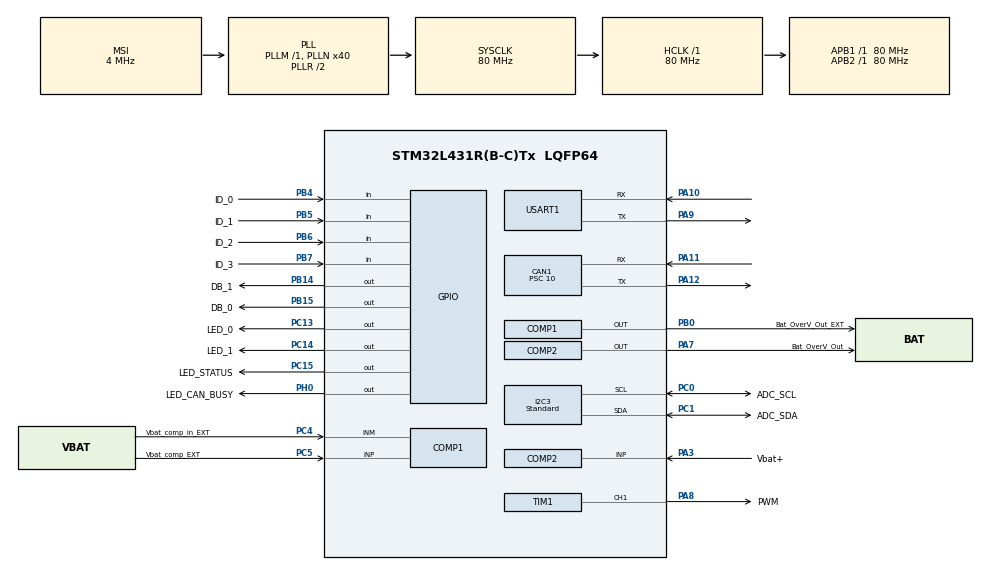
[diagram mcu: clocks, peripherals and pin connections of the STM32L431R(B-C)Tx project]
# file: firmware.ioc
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ADC1.ClockPrescaler=ADC_CLOCK_ASYNC_DIV1
ADC1.ContinuousConvMode=DISABLE
ADC1.DMAContinuousRequests=DISABLE
ADC1.EnableRegularConversion=DISABLE
ADC1.OversamplingMode=ENABLE
ADC1.master=1
CAN1.BS1=CAN_BS1_13TQ
CAN1.BS2=CAN_BS2_2TQ
CAN1.CalculateBaudRate=500000
CAN1.CalculateTimeBit=2000
CAN1.CalculateTimeQuantum=125.0
CAN1.Prescaler=10
COMP1.TriggerMode=COMP_TRIGGERMODE_IT_RISING_FALLING
COMP2.InvertingInput=COMP_INPUT_MINUS_DAC1_CH1
COMP2.TriggerMode=COMP_TRIGGERMODE_IT_RISING_FALLING
Dma.ADC1.0.Direction=DMA_PERIPH_TO_MEMORY
Dma.ADC1.0.Instance=DMA1_Channel1
Dma.ADC1.0.MemDataAlignment=DMA_MDATAALIGN_HALFWORD
Dma.ADC1.0.MemInc=DMA_MINC_ENABLE
Dma.ADC1.0.Mode=DMA_CIRCULAR
Dma.ADC1.0.PeriphDataAlignment=DMA_PDATAALIGN_HALFWORD
Dma.ADC1.0.PeriphInc=DMA_PINC_DISABLE
Dma.ADC1.0.Priority=DMA_PRIORITY_MEDIUM
Dma.I2C3_RX.2.Direction=DMA_PERIPH_TO_MEMORY
Dma.I2C3_RX.2.Instance=DMA1_Channel3
Dma.I2C3_RX.2.MemDataAlignment=DMA_MDATAALIGN_BYTE
Dma.I2C3_RX.2.MemInc=DMA_MINC_ENABLE
Dma.I2C3_RX.2.Mode=DMA_NORMAL
Dma.I2C3_RX.2.PeriphDataAlignment=DMA_PDATAALIGN_BYTE
Dma.I2C3_RX.2.PeriphInc=DMA_PINC_DISABLE
Dma.I2C3_RX.2.Priority=DMA_PRIORITY_HIGH
Dma.Request0=ADC1
Dma.Request1=USART1_RX
Dma.Request2=I2C3_RX
Dma.USART1_RX.1.Direction=DMA_PERIPH_TO_MEMORY
Dma.USART1_RX.1.Instance=DMA1_Channel5
Dma.USART1_RX.1.MemDataAlignment=DMA_MDATAALIGN_BYTE
Dma.USART1_RX.1.MemInc=DMA_MINC_ENABLE
Dma.USART1_RX.1.Mode=DMA_CIRCULAR
Dma.USART1_RX.1.PeriphDataAlignment=DMA_PDATAALIGN_BYTE
Dma.USART1_RX.1.PeriphInc=DMA_PINC_DISABLE
Dma.USART1_RX.1.Priority=DMA_PRIORITY_LOW
I2C3.I2C_Speed_Mode=I2C_Standard
I2C3.Timing=0x10909CEC
IWDG.Prescaler=IWDG_PRESCALER_256
IWDG.Reload=626
IWDG.Window=626
Mcu.Family=STM32L4
Mcu.Name=STM32L431R(B-C)Tx
Mcu.Package=LQFP64
NVIC.ADC1_IRQn=true\:0\:0\:false\:false\:true\:true\:true\:true
NVIC.COMP_IRQn=true\:0\:0\:false\:false\:true\:false\:true\:true
NVIC.DMA1_Channel1_IRQn=true\:0\:0\:false\:false\:true\:false\:true\:true
NVIC.DMA1_Channel3_IRQn=true\:0\:0\:false\:false\:true\:false\:true\:true
NVIC.DMA1_Channel5_IRQn=true\:0\:0\:false\:false\:true\:false\:true\:true
NVIC.PriorityGroup=NVIC_PRIORITYGROUP_4
NVIC.TIM2_IRQn=true\:0\:0\:false\:false\:true\:true\:true\:true
NVIC.USART1_IRQn=true\:0\:0\:false\:false\:true\:true\:true\:true
PA0.GPIO_Label=IPanel+
PA0.Signal=ADCx_IN5
PA10.Mode=Asynchronous
PA10.Signal=USART1_RX
PA11.Mode=CAN_Activate
PA11.Signal=CAN1_RX
PA12.Mode=CAN_Activate
PA12.Signal=CAN1_TX
PA13\ (JTMS-SWDIO).Mode=Trace_Asynchronous_SW
PA13\ (JTMS-SWDIO).Signal=SYS_JTMS-SWDIO
PA14\ (JTCK-SWCLK).Mode=Trace_Asynchronous_SW
PA14\ (JTCK-SWCLK).Signal=SYS_JTCK-SWCLK
PA2.GPIO_Label=Vbat_comp
PA2.Signal=SharedAnalog_PA2
PA3.GPIO_Label=Vbat+
PA3.Signal=SharedAnalog_PA3
PA4.GPIO_Label=TempDiode
PA4.Signal=ADCx_IN9
PA5.GPIO_Label=TempMos
PA5.Signal=ADCx_IN10
PA6.GPIO_Label=Rad+
PA6.Signal=ADCx_IN11
PA7.GPIO_Label=Bat_OverV_Out
PA7.Mode=ExternalOutput
PA7.Signal=COMP2_OUT
PA8.GPIO_Label=PWM
PA8.Signal=S_TIM1_CH1
PA9.Mode=Asynchronous
PA9.Signal=USART1_TX
PB0.GPIO_Label=Bat_OverV_Out_EXT
PB0.Mode=ExternalOutput
PB0.Signal=COMP1_OUT
PB12.GPIO_Label=TImer_break
PB12.Signal=TIM1_BKIN_COMP2
PB13.GPIO_Label=PWM_N
PB13.Signal=TIM1_CH1N
PB14.GPIO_Label=DB_1
PB14.Signal=GPIO_Output
PB15.GPIO_Label=DB_0
PB15.Signal=GPIO_Output
PB3\ (JTDO-TRACESWO).Mode=Trace_Asynchronous_SW
PB3\ (JTDO-TRACESWO).Signal=SYS_JTDO-SWO
PB4\ (NJTRST).GPIO_Label=ID_0
PB4\ (NJTRST).GPIO_PuPd=GPIO_PULLUP
PB4\ (NJTRST).Signal=GPIO_Input
PB5.GPIO_Label=ID_1
PB5.GPIO_PuPd=GPIO_PULLUP
PB5.Signal=GPIO_Input
PB6.GPIO_Label=ID_2
PB6.GPIO_PuPd=GPIO_PULLUP
PB6.Signal=GPIO_Input
PB7.GPIO_Label=ID_3
PB7.GPIO_PuPd=GPIO_PULLUP
PB7.Signal=GPIO_Input
PC0.GPIO_Label=ADC_SCL
PC0.GPIO_Pu=GPIO_PULLUP
PC0.Mode=I2C
PC0.Signal=I2C3_SCL
PC1.GPIO_Label=ADC_SDA
PC1.GPIO_Pu=GPIO_PULLUP
PC1.Mode=I2C
PC1.Signal=I2C3_SDA
PC13.GPIO_Label=LED_0
PC13.Signal=GPIO_Output
PC14-OSC32_IN\ (PC14).GPIO_Label=LED_1
PC14-OSC32_IN\ (PC14).Signal=GPIO_Output
PC15-OSC32_OUT\ (PC15).GPIO_Label=LED_STATUS
PC15-OSC32_OUT\ (PC15).Signal=GPIO_Output
PC2.GPIO_Label=Vpanel+
PC2.Signal=ADCx_IN3
PC4.GPIO_Label=Vbat_comp_in_EXT
PC4.Mode=INM
PC4.Signal=COMP1_INM
PC5.GPIO_Label=Vbat_comp_EXT
PC5.Signal=SharedAnalog_PC5
PH0-OSC_IN\ (PH0).GPIO_Label=LED_CAN_BUSY
PH0-OSC_IN\ (PH0).Signal=GPIO_Output
ProjectManager.HeapSize=0x200
ProjectManager.StackSize=0x400
ProjectManager.TargetToolchain=Makefile
RCC.ADCCLockSelection=RCC_ADCCLKSOURCE_SYSCLK
RCC.ADCFreq_Value=80000000
RCC.AHBFreq_Value=80000000
RCC.APB1Freq_Value=80000000
RCC.APB1TimFreq_Value=80000000
RCC.APB2Freq_Value=80000000
RCC.APB2TimFreq_Value=80000000
RCC.CortexFreq_Value=80000000
RCC.HCLKFreq_Value=80000000
RCC.HSE_VALUE=8000000
RCC.HSI48_VALUE=48000000
RCC.HSI_VALUE=16000000
RCC.LSE_VALUE=32768
RCC.MSI_VALUE=4000000
RCC.PLLN=40
RCC.SYSCLKFreq_VALUE=80000000
RCC.SYSCLKSource=RCC_SYSCLKSOURCE_PLLCLK
RCC.VCOOutputFreq_Value=160000000
SH.ADCx_IN10.0=ADC1_IN10
SH.ADCx_IN11.0=ADC1_IN11
SH.ADCx_IN3.0=ADC1_IN3
SH.ADCx_IN5.0=ADC1_IN5
SH.ADCx_IN9.0=ADC1_IN9
SH.S_TIM1_CH1.0=TIM1_CH1,PWM Generation1 CH1
SH.SharedAnalog_PA2.0=COMP2_INM
SH.SharedAnalog_PA2.1=ADC1_IN7
SH.SharedAnalog_PA3.0=ADC1_IN8
SH.SharedAnalog_PA3.1=COMP2_INP,INP
SH.SharedAnalog_PC5.0=COMP1_INP,INP
SH.SharedAnalog_PC5.1=ADC1_IN14,IN14-Single-Ended
TIM1.Channel-PWM\ Generation1\ CH1=TIM_CHANNEL_1
TIM1.OCFastMode_PWM-PWM\ Generation1\ CH1\ CH1N=TIM_OCFAST_ENABLE
TIM1.SourceBRK2COMP1=TIM_BREAKINPUTSOURCE_DISABLE
TIM2.AutoReloadPreload=TIM_AUTORELOAD_PRELOAD_ENABLE
TIM2.Period=1428
TIM2.TIM_MasterOutputTrigger=TIM_TRGO_UPDATE
USART1.VirtualMode-Asynchronous=VM_ASYNC
VP_COMP2_VS_DACOUT1.Mode=INM_DACOUT1
VP_DAC1_VS_DACI1.Mode=DAC_OUT1_Int
VP_IWDG_VS_IWDG.Mode=IWDG_Activate
VP_TIM1_VS_ClockSourceINT.Mode=Internal
VP_TIM2_VS_ClockSourceINT.Mode=Internal
board=custom

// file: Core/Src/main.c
/* USER CODE BEGIN Header */
/**
 ******************************************************************************
 * @file           : main.c
 * @brief          : Main program body
 ******************************************************************************
 * @attention
 *
 * Copyright (c) 2023 STMicroelectronics.
 * All rights reserved.
 *
 * This software is licensed under terms that can be found in the LICENSE file
 * in the root directory of this software component.
 * If no LICENSE file comes with this software, it is provided AS-IS.
 *
 ******************************************************************************
 */
/* USER CODE END Header */
#include "main.h"

/* USER CODE BEGIN Includes */
#include <string.h>
#include "machine.h"
#include "control.h"
#include "comparators.h"
#include "pwm.h"
#include "adc.h"
#include "canbus.h"
#include "dac.h"
#include "uart.h"
#include "ads111x.h"

/* USER CODE END Includes */

ADC_HandleTypeDef hadc1;
DMA_HandleTypeDef hdma_adc1;

CAN_HandleTypeDef hcan1;

COMP_HandleTypeDef hcomp1;
COMP_HandleTypeDef hcomp2;

DAC_HandleTypeDef hdac1;

I2C_HandleTypeDef hi2c3;
DMA_HandleTypeDef hdma_i2c3_rx;

IWDG_HandleTypeDef hiwdg;

TIM_HandleTypeDef htim1;
TIM_HandleTypeDef htim2;

UART_HandleTypeDef huart1;
DMA_HandleTypeDef hdma_usart1_rx;

void SystemClock_Config(void);
static void MX_GPIO_Init(void);
static void MX_DMA_Init(void);
static void MX_ADC1_Init(void);
static void MX_CAN1_Init(void);
static void MX_TIM1_Init(void);
static void MX_USART1_UART_Init(void);
static void MX_COMP1_Init(void);
static void MX_COMP2_Init(void);
static void MX_DAC1_Init(void);
static void MX_TIM2_Init(void);
static void MX_I2C3_Init(void);
static void MX_IWDG_Init(void);

int main(void)
{

	/* MCU Configuration--------------------------------------------------------*/

	/* Reset of all peripherals, Initializes the Flash interface and the Systick. */
	HAL_Init();

	/* Configure the system clock */
	SystemClock_Config();

	/* Initialize all configured peripherals */
	MX_GPIO_Init();
	MX_DMA_Init();
	MX_ADC1_Init();
	MX_CAN1_Init();
	MX_TIM1_Init();
	MX_USART1_UART_Init();
	MX_COMP1_Init();
	MX_COMP2_Init();
	MX_DAC1_Init();
	MX_TIM2_Init();
	MX_I2C3_Init();
	MX_IWDG_Init();
	/* USER CODE BEGIN 2 */

	uart_init(&huart1);
	adc_init(&hi2c3);
	pwm_init(&htim1);
	machine_init();
	canbus_init(&hcan1);

	/* USER CODE END 2 */

	/* Infinite loop */
	while (1)
	{

		/* USER CODE BEGIN 3 */

		static uint32_t uart_delay = 0U;
		static uint32_t adc_delay = 0U;
		static uint32_t control_delay = 0U;
		static uint32_t canbus_delay = 0U;

		/* Machine */
		machine_set_run();
		machine_set_enable(DISABLE);
		machine_run();

		/* Uart */
		if (uart_delay < HAL_GetTick())
		{
			uart_delay = HAL_GetTick() + 500U;
			uart_run();
		}

		/* Adc */
		if (adc_delay < HAL_GetTick())
		{
			adc_delay = HAL_GetTick() + (uint32_t)(1000 / ADC_DEFAULT_FREQUENCY);
			adc_measure();
		}

		/* Control */
		if (control_delay < HAL_GetTick() && adc_all_channels_measured())
		{
			control_delay = HAL_GetTick() + control_get_period();
			control_run();
		}

		/* CanBus */
		if (canbus_delay < HAL_GetTick())
		{
			canbus_delay = HAL_GetTick() + 50U;
			canbus_run();
		}

	}
	/* USER CODE END 3 */
}

void SystemClock_Config(void)
{
	RCC_OscInitTypeDef RCC_OscInitStruct = {0};
	RCC_ClkInitTypeDef RCC_ClkInitStruct = {0};

	/** Configure the main internal regulator output voltage
	*/
	if (HAL_PWREx_ControlVoltageScaling(PWR_REGULATOR_VOLTAGE_SCALE1) != HAL_OK)
	{
		Error_Handler();
	}

	/** Initializes the RCC Oscillators according to the specified parameters
	* in the RCC_OscInitTypeDef structure.
	*/
	RCC_OscInitStruct.OscillatorType = RCC_OSCILLATORTYPE_LSI|RCC_OSCILLATORTYPE_MSI;
	RCC_OscInitStruct.LSIState = RCC_LSI_ON;
	RCC_OscInitStruct.MSIState = RCC_MSI_ON;
	RCC_OscInitStruct.MSICalibrationValue = 0;
	RCC_OscInitStruct.MSIClockRange = RCC_MSIRANGE_6;
	RCC_OscInitStruct.PLL.PLLState = RCC_PLL_ON;
	RCC_OscInitStruct.PLL.PLLSource = RCC_PLLSOURCE_MSI;
	RCC_OscInitStruct.PLL.PLLM = 1;
	RCC_OscInitStruct.PLL.PLLN = 40;
	RCC_OscInitStruct.PLL.PLLP = RCC_PLLP_DIV7;
	RCC_OscInitStruct.PLL.PLLQ = RCC_PLLQ_DIV2;
	RCC_OscInitStruct.PLL.PLLR = RCC_PLLR_DIV2;
	if (HAL_RCC_OscConfig(&RCC_OscInitStruct) != HAL_OK)
	{
		Error_Handler();
	}

	/** Initializes the CPU, AHB and APB buses clocks
	*/
	RCC_ClkInitStruct.ClockType = RCC_CLOCKTYPE_HCLK|RCC_CLOCKTYPE_SYSCLK
															|RCC_CLOCKTYPE_PCLK1|RCC_CLOCKTYPE_PCLK2;
	RCC_ClkInitStruct.SYSCLKSource = RCC_SYSCLKSOURCE_PLLCLK;
	RCC_ClkInitStruct.AHBCLKDivider = RCC_SYSCLK_DIV1;
	RCC_ClkInitStruct.APB1CLKDivider = RCC_HCLK_DIV1;
	RCC_ClkInitStruct.APB2CLKDivider = RCC_HCLK_DIV1;

	if (HAL_RCC_ClockConfig(&RCC_ClkInitStruct, FLASH_LATENCY_4) != HAL_OK)
	{
		Error_Handler();
	}
}

static void MX_ADC1_Init(void)
{

	/** Common config
	*/
	hadc1.Instance = ADC1;
	hadc1.Init.ClockPrescaler = ADC_CLOCK_ASYNC_DIV1;
	hadc1.Init.Resolution = ADC_RESOLUTION_12B;
	hadc1.Init.DataAlign = ADC_DATAALIGN_RIGHT;
	hadc1.Init.ScanConvMode = ADC_SCAN_DISABLE;
	hadc1.Init.EOCSelection = ADC_EOC_SINGLE_CONV;
	hadc1.Init.LowPowerAutoWait = DISABLE;
	hadc1.Init.ContinuousConvMode = DISABLE;
	hadc1.Init.NbrOfConversion = 1;
	hadc1.Init.DiscontinuousConvMode = DISABLE;
	hadc1.Init.DMAContinuousRequests = DISABLE;
	hadc1.Init.Overrun = ADC_OVR_DATA_PRESERVED;
	hadc1.Init.OversamplingMode = ENABLE;
	if (HAL_ADC_Init(&hadc1) != HAL_OK)
	{
		Error_Handler();
	}

}

static void MX_CAN1_Init(void)
{

	hcan1.Instance = CAN1;
	hcan1.Init.Prescaler = 10;
	hcan1.Init.Mode = CAN_MODE_NORMAL;
	hcan1.Init.SyncJumpWidth = CAN_SJW_1TQ;
	hcan1.Init.TimeSeg1 = CAN_BS1_13TQ;
	hcan1.Init.TimeSeg2 = CAN_BS2_2TQ;
	hcan1.Init.TimeTriggeredMode = DISABLE;
	hcan1.Init.AutoBusOff = DISABLE;
	hcan1.Init.AutoWakeUp = DISABLE;
	hcan1.Init.AutoRetransmission = DISABLE;
	hcan1.Init.ReceiveFifoLocked = DISABLE;
	hcan1.Init.TransmitFifoPriority = DISABLE;
	if (HAL_CAN_Init(&hcan1) != HAL_OK)
	{
		Error_Handler();
	}

}

static void MX_COMP1_Init(void)
{

	hcomp1.Instance = COMP1;
	hcomp1.Init.InvertingInput = COMP_INPUT_MINUS_IO2;
	hcomp1.Init.NonInvertingInput = COMP_INPUT_PLUS_IO1;
	hcomp1.Init.OutputPol = COMP_OUTPUTPOL_NONINVERTED;
	hcomp1.Init.Hysteresis = COMP_HYSTERESIS_NONE;
	hcomp1.Init.BlankingSrce = COMP_BLANKINGSRC_NONE;
	hcomp1.Init.Mode = COMP_POWERMODE_HIGHSPEED;
	hcomp1.Init.WindowMode = COMP_WINDOWMODE_DISABLE;
	hcomp1.Init.TriggerMode = COMP_TRIGGERMODE_IT_RISING_FALLING;
	if (HAL_COMP_Init(&hcomp1) != HAL_OK)
	{
		Error_Handler();
	}

}

static void MX_COMP2_Init(void)
{

	hcomp2.Instance = COMP2;
	hcomp2.Init.InvertingInput = COMP_INPUT_MINUS_DAC1_CH1;
	hcomp2.Init.NonInvertingInput = COMP_INPUT_PLUS_IO3;
	hcomp2.Init.OutputPol = COMP_OUTPUTPOL_NONINVERTED;
	hcomp2.Init.Hysteresis = COMP_HYSTERESIS_NONE;
	hcomp2.Init.BlankingSrce = COMP_BLANKINGSRC_NONE;
	hcomp2.Init.Mode = COMP_POWERMODE_HIGHSPEED;
	hcomp2.Init.WindowMode = COMP_WINDOWMODE_DISABLE;
	hcomp2.Init.TriggerMode = COMP_TRIGGERMODE_IT_RISING_FALLING;
	if (HAL_COMP_Init(&hcomp2) != HAL_OK)
	{
		Error_Handler();
	}

}

static void MX_DAC1_Init(void)
{

	DAC_ChannelConfTypeDef sConfig = {0};

	/** DAC Initialization
	*/
	hdac1.Instance = DAC1;
	if (HAL_DAC_Init(&hdac1) != HAL_OK)
	{
		Error_Handler();
	}

	/** DAC channel OUT1 config
	*/
	sConfig.DAC_SampleAndHold = DAC_SAMPLEANDHOLD_DISABLE;
	sConfig.DAC_Trigger = DAC_TRIGGER_NONE;
	sConfig.DAC_OutputBuffer = DAC_OUTPUTBUFFER_DISABLE;
	sConfig.DAC_ConnectOnChipPeripheral = DAC_CHIPCONNECT_ENABLE;
	sConfig.DAC_UserTrimming = DAC_TRIMMING_FACTORY;
	if (HAL_DAC_ConfigChannel(&hdac1, &sConfig, DAC_CHANNEL_1) != HAL_OK)
	{
		Error_Handler();
	}
	/* USER CODE BEGIN DAC1_Init 2 */
	HAL_DACEx_SelfCalibrate(&hdac1, &sConfig, DAC_CHANNEL_1);
	HAL_DACEx_SelfCalibrate(&hdac1, &sConfig, DAC_CHANNEL_2);
	/* USER CODE END DAC1_Init 2 */

}

static void MX_I2C3_Init(void)
{

	hi2c3.Instance = I2C3;
	hi2c3.Init.Timing = 0x10909CEC;
	hi2c3.Init.OwnAddress1 = 0;
	hi2c3.Init.AddressingMode = I2C_ADDRESSINGMODE_7BIT;
	hi2c3.Init.DualAddressMode = I2C_DUALADDRESS_DISABLE;
	hi2c3.Init.OwnAddress2 = 0;
	hi2c3.Init.OwnAddress2Masks = I2C_OA2_NOMASK;
	hi2c3.Init.GeneralCallMode = I2C_GENERALCALL_DISABLE;
	hi2c3.Init.NoStretchMode = I2C_NOSTRETCH_DISABLE;
	if (HAL_I2C_Init(&hi2c3) != HAL_OK)
	{
		Error_Handler();
	}

	/** Configure Analogue filter
	*/
	if (HAL_I2CEx_ConfigAnalogFilter(&hi2c3, I2C_ANALOGFILTER_ENABLE) != HAL_OK)
	{
		Error_Handler();
	}

	/** Configure Digital filter
	*/
	if (HAL_I2CEx_ConfigDigitalFilter(&hi2c3, 0) != HAL_OK)
	{
		Error_Handler();
	}

}

static void MX_IWDG_Init(void)
{

	hiwdg.Instance = IWDG;
	hiwdg.Init.Prescaler = IWDG_PRESCALER_256;
	hiwdg.Init.Window = 626;
	hiwdg.Init.Reload = 626;
	if (HAL_IWDG_Init(&hiwdg) != HAL_OK)
	{
		Error_Handler();
	}

}

static void MX_TIM1_Init(void)
{

	TIM_ClockConfigTypeDef sClockSourceConfig = {0};
	TIM_MasterConfigTypeDef sMasterConfig = {0};
	TIM_OC_InitTypeDef sConfigOC = {0};
	TIM_BreakDeadTimeConfigTypeDef sBreakDeadTimeConfig = {0};

	htim1.Instance = TIM1;
	htim1.Init.Prescaler = 0;
	htim1.Init.CounterMode = TIM_COUNTERMODE_UP;
	htim1.Init.Period = 65535;
	htim1.Init.ClockDivision = TIM_CLOCKDIVISION_DIV1;
	htim1.Init.RepetitionCounter = 0;
	htim1.Init.AutoReloadPreload = TIM_AUTORELOAD_PRELOAD_DISABLE;
	if (HAL_TIM_Base_Init(&htim1) != HAL_OK)
	{
		Error_Handler();
	}
	sClockSourceConfig.ClockSource = TIM_CLOCKSOURCE_INTERNAL;
	if (HAL_TIM_ConfigClockSource(&htim1, &sClockSourceConfig) != HAL_OK)
	{
		Error_Handler();
	}
	if (HAL_TIM_PWM_Init(&htim1) != HAL_OK)
	{
		Error_Handler();
	}
	sMasterConfig.MasterOutputTrigger = TIM_TRGO_RESET;
	sMasterConfig.MasterOutputTrigger2 = TIM_TRGO2_RESET;
	sMasterConfig.MasterSlaveMode = TIM_MASTERSLAVEMODE_DISABLE;
	if (HAL_TIMEx_MasterConfigSynchronization(&htim1, &sMasterConfig) != HAL_OK)
	{
		Error_Handler();
	}
	sConfigOC.OCMode = TIM_OCMODE_PWM1;
	sConfigOC.Pulse = 0;
	sConfigOC.OCPolarity = TIM_OCPOLARITY_HIGH;
	sConfigOC.OCNPolarity = TIM_OCNPOLARITY_HIGH;
	sConfigOC.OCFastMode = TIM_OCFAST_DISABLE;
	sConfigOC.OCIdleState = TIM_OCIDLESTATE_RESET;
	sConfigOC.OCNIdleState = TIM_OCNIDLESTATE_RESET;
	if (HAL_TIM_PWM_ConfigChannel(&htim1, &sConfigOC, TIM_CHANNEL_1) != HAL_OK)
	{
		Error_Handler();
	}
	sBreakDeadTimeConfig.OffStateRunMode = TIM_OSSR_DISABLE;
	sBreakDeadTimeConfig.OffStateIDLEMode = TIM_OSSI_DISABLE;
	sBreakDeadTimeConfig.LockLevel = TIM_LOCKLEVEL_OFF;
	sBreakDeadTimeConfig.DeadTime = 0;
	sBreakDeadTimeConfig.BreakState = TIM_BREAK_DISABLE;
	sBreakDeadTimeConfig.BreakPolarity = TIM_BREAKPOLARITY_HIGH;
	sBreakDeadTimeConfig.BreakFilter = 0;
	sBreakDeadTimeConfig.Break2State = TIM_BREAK2_DISABLE;
	sBreakDeadTimeConfig.Break2Polarity = TIM_BREAK2POLARITY_HIGH;
	sBreakDeadTimeConfig.Break2Filter = 0;
	sBreakDeadTimeConfig.AutomaticOutput = TIM_AUTOMATICOUTPUT_DISABLE;
	if (HAL_TIMEx_ConfigBreakDeadTime(&htim1, &sBreakDeadTimeConfig) != HAL_OK)
	{
		Error_Handler();
	}
	HAL_TIM_MspPostInit(&htim1);

}

static void MX_TIM2_Init(void)
{

	TIM_ClockConfigTypeDef sClockSourceConfig = {0};
	TIM_MasterConfigTypeDef sMasterConfig = {0};

	htim2.Instance = TIM2;
	htim2.Init.Prescaler = 0;
	htim2.Init.CounterMode = TIM_COUNTERMODE_UP;
	htim2.Init.Period = 1428;
	htim2.Init.ClockDivision = TIM_CLOCKDIVISION_DIV1;
	htim2.Init.AutoReloadPreload = TIM_AUTORELOAD_PRELOAD_ENABLE;
	if (HAL_TIM_Base_Init(&htim2) != HAL_OK)
	{
		Error_Handler();
	}
	sClockSourceConfig.ClockSource = TIM_CLOCKSOURCE_INTERNAL;
	if (HAL_TIM_ConfigClockSource(&htim2, &sClockSourceConfig) != HAL_OK)
	{
		Error_Handler();
	}
	sMasterConfig.MasterOutputTrigger = TIM_TRGO_UPDATE;
	sMasterConfig.MasterSlaveMode = TIM_MASTERSLAVEMODE_DISABLE;
	if (HAL_TIMEx_MasterConfigSynchronization(&htim2, &sMasterConfig) != HAL_OK)
	{
		Error_Handler();
	}

}

static void MX_USART1_UART_Init(void)
{

	huart1.Instance = USART1;
	huart1.Init.BaudRate = 115200;
	huart1.Init.WordLength = UART_WORDLENGTH_8B;
	huart1.Init.StopBits = UART_STOPBITS_1;
	huart1.Init.Parity = UART_PARITY_NONE;
	huart1.Init.Mode = UART_MODE_TX_RX;
	huart1.Init.HwFlowCtl = UART_HWCONTROL_NONE;
	huart1.Init.OverSampling = UART_OVERSAMPLING_16;
	huart1.Init.OneBitSampling = UART_ONE_BIT_SAMPLE_DISABLE;
	huart1.AdvancedInit.AdvFeatureInit = UART_ADVFEATURE_NO_INIT;
	if (HAL_UART_Init(&huart1) != HAL_OK)
	{
		Error_Handler();
	}

}

static void MX_DMA_Init(void)
{

	/* DMA controller clock enable */
	__HAL_RCC_DMA1_CLK_ENABLE();

	/* DMA interrupt init */
	/* DMA1_Channel1_IRQn interrupt configuration */
	HAL_NVIC_SetPriority(DMA1_Channel1_IRQn, 0, 0);
	HAL_NVIC_EnableIRQ(DMA1_Channel1_IRQn);
	/* DMA1_Channel3_IRQn interrupt configuration */
	HAL_NVIC_SetPriority(DMA1_Channel3_IRQn, 0, 0);
	HAL_NVIC_EnableIRQ(DMA1_Channel3_IRQn);
	/* DMA1_Channel5_IRQn interrupt configuration */
	HAL_NVIC_SetPriority(DMA1_Channel5_IRQn, 0, 0);
	HAL_NVIC_EnableIRQ(DMA1_Channel5_IRQn);

}

static void MX_GPIO_Init(void)
{
	GPIO_InitTypeDef GPIO_InitStruct = {0};

	/* GPIO Ports Clock Enable */
	__HAL_RCC_GPIOC_CLK_ENABLE();
	__HAL_RCC_GPIOH_CLK_ENABLE();
	__HAL_RCC_GPIOA_CLK_ENABLE();
	__HAL_RCC_GPIOB_CLK_ENABLE();

	/*Configure GPIO pin Output Level */
	HAL_GPIO_WritePin(GPIOC, LED_0_Pin|LED_1_Pin|LED_STATUS_Pin, GPIO_PIN_RESET);

	/*Configure GPIO pin Output Level */
	HAL_GPIO_WritePin(LED_CAN_BUSY_GPIO_Port, LED_CAN_BUSY_Pin, GPIO_PIN_RESET);

	/*Configure GPIO pin Output Level */
	HAL_GPIO_WritePin(GPIOB, DB_1_Pin|DB_0_Pin, GPIO_PIN_RESET);

	/*Configure GPIO pins : LED_0_Pin LED_1_Pin LED_STATUS_Pin */
	GPIO_InitStruct.Pin = LED_0_Pin|LED_1_Pin|LED_STATUS_Pin;
	GPIO_InitStruct.Mode = GPIO_MODE_OUTPUT_PP;
	GPIO_InitStruct.Pull = GPIO_NOPULL;
	GPIO_InitStruct.Speed = GPIO_SPEED_FREQ_LOW;
	HAL_GPIO_Init(GPIOC, &GPIO_InitStruct);

	/*Configure GPIO pin : LED_CAN_BUSY_Pin */
	GPIO_InitStruct.Pin = LED_CAN_BUSY_Pin;
	GPIO_InitStruct.Mode = GPIO_MODE_OUTPUT_PP;
	GPIO_InitStruct.Pull = GPIO_NOPULL;
	GPIO_InitStruct.Speed = GPIO_SPEED_FREQ_LOW;
	HAL_GPIO_Init(LED_CAN_BUSY_GPIO_Port, &GPIO_InitStruct);

	/*Configure GPIO pins : DB_1_Pin DB_0_Pin */
	GPIO_InitStruct.Pin = DB_1_Pin|DB_0_Pin;
	GPIO_InitStruct.Mode = GPIO_MODE_OUTPUT_PP;
	GPIO_InitStruct.Pull = GPIO_NOPULL;
	GPIO_InitStruct.Speed = GPIO_SPEED_FREQ_LOW;
	HAL_GPIO_Init(GPIOB, &GPIO_InitStruct);

	/*Configure GPIO pins : ID_0_Pin ID_1_Pin ID_2_Pin ID_3_Pin */
	GPIO_InitStruct.Pin = ID_0_Pin|ID_1_Pin|ID_2_Pin|ID_3_Pin;
	GPIO_InitStruct.Mode = GPIO_MODE_INPUT;
	GPIO_InitStruct.Pull = GPIO_PULLUP;
	HAL_GPIO_Init(GPIOB, &GPIO_InitStruct);

}

/* USER CODE BEGIN 4 */
void HAL_TIM_PeriodElapsedCallback(TIM_HandleTypeDef *htim)
{
	if (htim == &htim2)
	{
		HAL_GPIO_TogglePin(DB_1_GPIO_Port, DB_1_Pin);
	}
}

/* USER CODE END 4 */

void Error_Handler(void)
{
	/* USER CODE BEGIN Error_Handler_Debug */
	/* User can add his own implementation to report the HAL error return state */
	__disable_irq();
	while (1)
	{
		for (int i = 0; i < 50; i++)
		{
			HAL_GPIO_TogglePin(LED_0_GPIO_Port, LED_0_Pin);
			HAL_GPIO_TogglePin(LED_1_GPIO_Port, LED_1_Pin);
			HAL_GPIO_TogglePin(LED_STATUS_GPIO_Port, LED_STATUS_Pin);
			HAL_GPIO_TogglePin(LED_CAN_BUSY_GPIO_Port, LED_CAN_BUSY_Pin);
			HAL_Delay(100);
		}
		/* Reset STM */
		HAL_NVIC_SystemReset();
	}
	/* USER CODE END Error_Handler_Debug */
}
